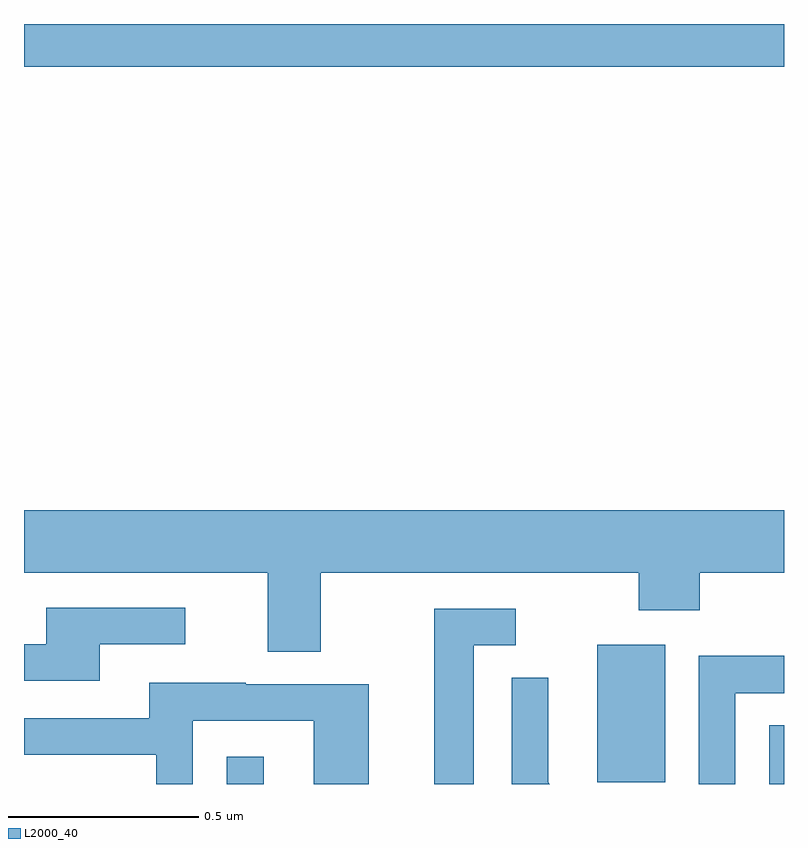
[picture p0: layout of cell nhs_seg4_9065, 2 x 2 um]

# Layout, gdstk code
import gdstk
lib = gdstk.Library(unit=1e-6, precision=1e-09)
def R(c, l, rs):  # rectangles x0, y0, x1, y1
    for r in rs: c.add(gdstk.rectangle(r[:2], r[2:], *l))
def P(c, l, *ps):  # polygons
    for p in ps: c.add(gdstk.Polygon(p, *l))
L2000_40 = (2000, 40)

nhs_seg4_9065 = lib.new_cell('nhs_seg4_9065')
R(nhs_seg4_9065, L2000_40, [(222.534,826.9,222.631,826.972), (223.961,826.9,224,827.054), (223.508,826.905,223.687,827.266), (222,828.788,224,828.9)])
P(nhs_seg4_9065, L2000_40, [(222.781,827.456),(223.618,827.456),(223.618,827.357),(223.778,827.357),(223.778,827.456),(224,827.456),(224,827.62),(222,827.62),(222,827.456),(222.641,827.456),(222.641,827.248),(222.781,827.248)],
  [(222.199,827.268),(222.424,827.268),(222.424,827.364),(222.059,827.364),(222.059,827.268),(222,827.268),(222,827.172),(222.199,827.172)],
  [(223.183,827.265),(223.294,827.265),(223.294,827.361),(223.079,827.361),(223.079,826.9),(223.183,826.9)],
  [(223.872,827.139),(224,827.139),(224,827.238),(223.776,827.238),(223.776,826.9),(223.872,826.9)],
  [(223.379,826.904),(223.379,827.026),(223.38,827.026),(223.38,827.18),(223.284,827.18),(223.284,826.9),(223.383,826.9)],
  [(222.444,827.067),(222.762,827.067),(222.762,826.9),(222.907,826.9),(222.907,827.163),(222.583,827.163),(222.583,827.167),(222.329,827.167),(222.329,827.073),(222,827.073),(222,826.977),(222.348,826.977),(222.348,826.9),(222.444,826.9)])

lib.write_gds('nhs_seg4_9065.gds')
